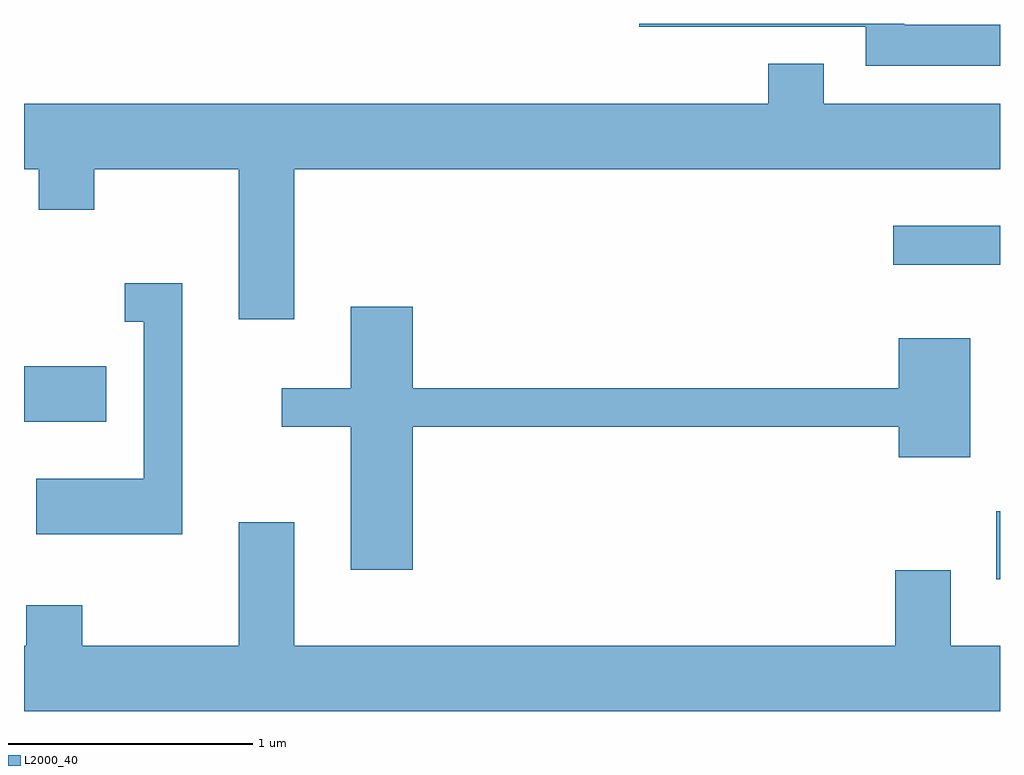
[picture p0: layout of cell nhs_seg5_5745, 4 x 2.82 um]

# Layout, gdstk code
import gdstk
lib = gdstk.Library(unit=1e-6, precision=1e-09)
def R(c, l, rs):  # rectangles x0, y0, x1, y1
    for r in rs: c.add(gdstk.rectangle(r[:2], r[2:], *l))
def P(c, l, *ps):  # polygons
    for p in ps: c.add(gdstk.Polygon(p, *l))
L2000_40 = (2000, 40)

nhs_seg5_5745 = lib.new_cell('nhs_seg5_5745')
R(nhs_seg5_5745, L2000_40, [(359.596,1441.796,359.611,1442.074), (355.611,1442.441,355.949,1442.669), (359.173,1443.086,359.611,1443.244)])
P(nhs_seg5_5745, L2000_40, [(359.611,1444.069),(359.219,1444.069),(359.219,1444.072),(358.133,1444.072),(358.133,1444.061),(359.061,1444.061),(359.061,1443.901),(359.611,1443.901)],
  [(356.719,1443.476),(359.611,1443.476),(359.611,1443.744),(358.889,1443.744),(358.889,1443.909),(358.661,1443.909),(358.661,1443.744),(355.611,1443.744),(355.611,1443.476),(355.671,1443.476),(355.671,1443.311),(355.899,1443.311),(355.899,1443.476),(356.491,1443.476),(356.491,1442.861),(356.719,1442.861)],
  [(356.259,1443.009),(356.023,1443.009),(356.023,1442.851),(356.101,1442.851),(356.101,1442.209),(355.661,1442.209),(355.661,1441.981),(356.259,1441.981)],
  [(357.204,1442.421),(359.196,1442.421),(359.196,1442.296),(359.489,1442.296),(359.489,1442.784),(359.196,1442.784),(359.196,1442.579),(357.204,1442.579),(357.204,1442.914),(356.951,1442.914),(356.951,1442.579),(356.668,1442.579),(356.668,1442.421),(356.951,1442.421),(356.951,1441.836),(357.204,1441.836)],
  [(359.611,1441.524),(359.409,1441.524),(359.409,1441.834),(359.181,1441.834),(359.181,1441.524),(356.719,1441.524),(356.719,1442.029),(356.491,1442.029),(356.491,1441.524),(355.849,1441.524),(355.849,1441.689),(355.621,1441.689),(355.621,1441.524),(355.611,1441.524),(355.611,1441.256),(359.611,1441.256)])

lib.write_gds('nhs_seg5_5745.gds')
